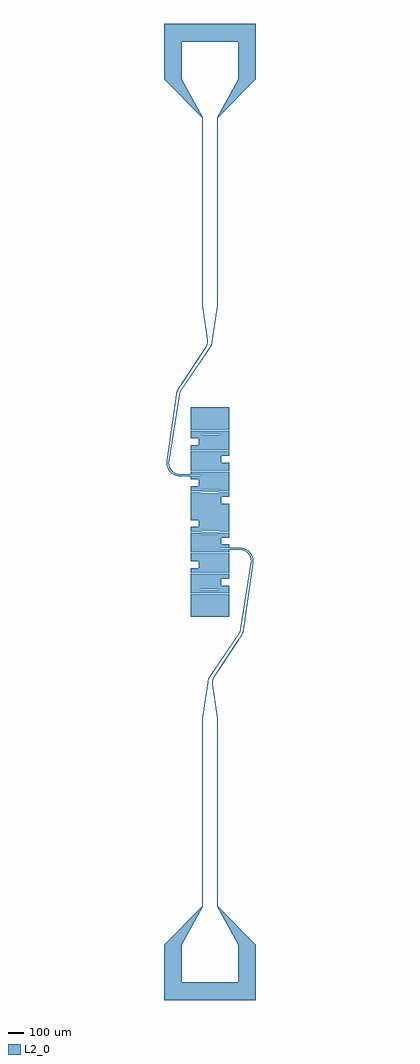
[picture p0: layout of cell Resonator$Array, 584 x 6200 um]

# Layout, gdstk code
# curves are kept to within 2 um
import gdstk
lib = gdstk.Library(unit=1e-6, precision=1e-09)
def R(c, l, rs):  # rectangles x0, y0, x1, y1
    for r in rs: c.add(gdstk.rectangle(r[:2], r[2:], *l))
def P(c, l, *ps):  # polygons
    for p in ps: c.add(gdstk.Polygon(p, *l))
L2_0 = (2, 0)

resonator_array = lib.new_cell('Resonator$Array')
R(resonator_array, L2_0, [(65,-727,307,-586), (65,460,307,601)])
P(resonator_array, L2_0, [(65,330),(65,360.35),(113,360.35),(113,405.65),(65,405.65),(65,454),(249,454),(249,433),(131,433),(131,429),(245,429),(245,337),(131,337),(131,333),(249,333),(249,454),(307,454),(307,330)],
  [(65,200),(65,324),(241,324),(241,225),(127,225),(127,317),(241,317),(241,321),(123,321),(123,221),(241,221),(241,324),(307,324),(307,293.65),(259,293.65),(259,248.35),(307,248.35),(307,200)],
  [(65,-450),(65,-419.65),(113,-419.65),(113,-374.35),(65,-374.35),(65,-326),(249,-326),(249,-347),(131,-347),(131,-351),(245,-351),(245,-443),(131,-443),(131,-447),(249,-447),(249,-326),(307,-326),(307,-450)],
  [(65,-580),(65,-456),(241,-456),(241,-555),(127,-555),(127,-463),(241,-463),(241,-459),(123,-459),(123,-559),(241,-559),(241,-456),(307,-456),(307,-486.35),(259,-486.35),(259,-531.65),(307,-531.65),(307,-580)],
  [(65,-190),(65,-156.35),(113,-156.35),(113,-138.65),(134.3,-138.65),(134.3,-114.3),(141.3,-114.3),(141.3,-163),(154.9,-163),(154.9,-114.3),(161.9,-114.3),(161.9,-163),(175.5,-163),(175.5,-114.3),(182.5,-114.3),(182.5,-163),(196.1,-163),(196.1,-114.3),(203.1,-114.3),(203.1,-163),(216.7,-163),(216.7,-114.3),(223.7,-114.3),(223.7,-138.65),(245,-138.65),(245,-183),(131,-183),(131,-187),(249,-187),(249,-87),(131,-87),(131,-91),(245,-91),(245,-135.35),(227,-135.35),(227,-111),(213.4,-111),(213.4,-159.7),(206.4,-159.7),(206.4,-111),(192.8,-111),(192.8,-159.7),(185.8,-159.7),(185.8,-111),(172.2,-111),(172.2,-159.7),(165.2,-159.7),(165.2,-111),(151.6,-111),(151.6,-159.7),(144.6,-159.7),(144.6,-111),(131,-111),(131,-135.35),(113,-135.35),(113,-114.35),(65,-114.35),(65,-66),(307,-66),(307,-190)],
  [(65,-60),(65,64),(307,64),(307,33.65),(259,33.65),(259,12.65),(241,12.65),(241,37),(227.4,37),(227.4,-11.7),(220.4,-11.7),(220.4,37),(206.8,37),(206.8,-11.7),(199.8,-11.7),(199.8,37),(186.2,37),(186.2,-11.7),(179.2,-11.7),(179.2,37),(165.6,37),(165.6,-11.7),(158.6,-11.7),(158.6,37),(145,37),(145,12.65),(127,12.65),(127,57),(241,57),(241,61),(123,61),(123,-39),(241,-39),(241,-35),(127,-35),(127,9.35),(148.3,9.35),(148.3,33.7),(155.3,33.7),(155.3,-15),(168.9,-15),(168.9,33.7),(175.9,33.7),(175.9,-15),(189.5,-15),(189.5,33.7),(196.5,33.7),(196.5,-15),(210.1,-15),(210.1,33.7),(217.1,33.7),(217.1,-15),(230.7,-15),(230.7,33.7),(237.7,33.7),(237.7,9.35),(259,9.35),(259,-11.65),(307,-11.65),(307,-60)],
  [(-58.874,198.812),(-64.727,206.238),(-68.584,212.479),(-71.803,219.071),(-74.354,225.949),(-76.211,233.046),(-77.356,240.292),(-77.779,247.616),(-77.474,254.945),(-9.797,682.615),(-8.335,689.544),(-6.181,696.29),(-3.356,702.783),(0.11,708.959),(29.114,752),(32.692,752),(1.485,705.441),(-1.631,699.422),(-4.124,693.119),(-6.824,682.158),(-74.236,256.982),(-74.706,245.04),(-74.022,237.896),(-72.619,230.858),(-69.659,221.762),(-65.503,213.146),(-60.227,205.168),(-54.742,198.812)],
  [(-72.845,198.812),(-76.691,204.36),(-80.578,211.168),(-83.822,218.304),(-86.394,225.71),(-88.273,233.32),(-89.443,241.072),(-89.894,248.898),(-89.622,256.733),(-28.344,685.247),(-26.883,692.983),(-24.745,700.56),(-21.945,707.918),(-18.507,714.999),(5.412,752),(9.04,752),(-11.963,720.08),(-17.052,711.309),(-21.906,699.604),(-23.972,692.283),(-25.383,684.808),(-86.398,258.933),(-86.891,251.248),(-86.661,243.552),(-84.679,230.881),(-82.549,223.482),(-78.647,213.988),(-73.59,205.057),(-69.086,198.812)],
  [(65,70),(65,100.35),(113,100.35),(113,121.35),(134.3,121.35),(134.3,145.7),(141.3,145.7),(141.3,97),(154.9,97),(154.9,145.7),(161.9,145.7),(161.9,97),(175.5,97),(175.5,145.7),(182.5,145.7),(182.5,97),(196.1,97),(196.1,145.7),(203.1,145.7),(203.1,97),(216.7,97),(216.7,145.7),(223.7,145.7),(223.7,121.35),(245,121.35),(245,77),(131,77),(131,73),(249,73),(249,173),(131,173),(131,169),(245,169),(245,124.65),(227,124.65),(227,149),(213.4,149),(213.4,100.3),(206.4,100.3),(206.4,149),(192.8,149),(192.8,100.3),(185.8,100.3),(185.8,149),(172.2,149),(172.2,100.3),(165.2,100.3),(165.2,149),(151.6,149),(151.6,100.3),(144.6,100.3),(144.6,149),(131,149),(131,124.65),(113,124.65),(113,145.65),(65,145.65),(65,165.469),(-6.746,164.888),(-24.856,167.244),(-51.145,178.55),(-72.845,198.812),(-69.086,198.812),(-54.432,184.494),(-39.037,175.289),(-22.009,169.65),(-6.73,167.867),(126.5,169),(126.5,173),(-14.2,174.946),(-39.577,183.443),(-58.874,198.812),(-54.742,198.812),(-42.809,188.922),(-30.1,182.291),(-4.419,177.234),(65,176.58),(65,194),(307,194),(307,70)],
  [(427.904,-326.033),(404.307,-309.215),(376.419,-303.234),(307,-302.58),(307,-320),(65,-320),(65,-196),(307,-196),(307,-226.35),(259,-226.35),(259,-247.35),(241,-247.35),(241,-223),(227.4,-223),(227.4,-271.7),(220.4,-271.7),(220.4,-223),(206.8,-223),(206.8,-271.7),(199.8,-271.7),(199.8,-223),(186.2,-223),(186.2,-271.7),(179.2,-271.7),(179.2,-223),(165.6,-223),(165.6,-271.7),(158.6,-271.7),(158.6,-223),(145,-223),(145,-247.35),(127,-247.35),(127,-203),(241,-203),(241,-199),(123,-199),(123,-299),(241,-299),(241,-295),(127,-295),(127,-250.65),(148.3,-250.65),(148.3,-226.3),(155.3,-226.3),(155.3,-275),(168.9,-275),(168.9,-226.3),(175.9,-226.3),(175.9,-275),(189.5,-275),(189.5,-226.3),(196.5,-226.3),(196.5,-275),(210.1,-275),(210.1,-226.3),(217.1,-226.3),(217.1,-275),(230.7,-275),(230.7,-226.3),(237.7,-226.3),(237.7,-250.65),(259,-250.65),(259,-268.35),(307,-268.35),(307,-291.469),(378.746,-290.888),(396.856,-293.244),(423.145,-304.55),(445.758,-326.033),(442.026,-326.033),(430.425,-313.722),(415.636,-303.571),(388.957,-294.737),(245.5,-295),(245.5,-299),(386.2,-300.946),(413.698,-310.661),(430.662,-324.569),(431.942,-326.033)],
  [(362.96,-878),(383.963,-846.08),(389.052,-837.309),(393.906,-825.604),(395.972,-818.283),(397.383,-810.808),(458.398,-384.933),(458.818,-372.115),(457.234,-359.388),(454.549,-349.482),(451.733,-342.315),(446.958,-333.229),(442.026,-326.033),(445.758,-326.033),(452.578,-337.168),(455.822,-344.304),(458.394,-351.71),(460.273,-359.32),(461.443,-367.072),(461.894,-374.898),(461.622,-382.733),(400.344,-811.247),(398.883,-818.983),(396.745,-826.56),(393.945,-833.918),(390.507,-840.999),(366.588,-878)],
  [(339.308,-878),(370.515,-831.441),(373.631,-825.422),(376.124,-819.119),(378.824,-808.158),(446.236,-382.982),(446.706,-371.04),(446.022,-363.896),(444.619,-356.858),(442.514,-349.997),(438.651,-341.247),(433.646,-333.095),(427.904,-326.033),(431.942,-326.033),(436.727,-332.238),(440.584,-338.479),(443.803,-345.071),(446.354,-351.949),(448.211,-359.046),(449.356,-366.292),(449.779,-373.616),(449.474,-380.945),(381.797,-808.615),(380.335,-815.544),(378.181,-822.29),(375.356,-828.783),(371.89,-834.959),(342.886,-878)],
  [(4.756,751),(159.803,987.125),(169.257,1016.955),(138.037,1244.111),(138,2443),(-106,2684.5),(-106,3037),(478,3037),(478,2684.5),(234,2443),(233.087,1232.008),(201.579,1018.72),(195.858,997.631),(32.018,751),(28.439,751),(185.784,984.221),(198.579,1018.72),(230.964,1244.184),(231,2444),(366,2684.5),(366,2925),(6,2925),(6,2684.5),(141,2444),(141.036,1244.184),(172.42,1021.051),(169.917,1002.387),(162.391,985.125),(8.382,751)],
  [(-106,-3163),(-106,-2810.5),(138,-2569),(138.913,-1358.008),(170.421,-1144.72),(176.142,-1123.631),(339.982,-877),(343.561,-877),(186.216,-1110.221),(173.421,-1144.72),(141.036,-1370.184),(141,-2570),(6,-2810.5),(6,-3051),(366,-3051),(366,-2810.5),(231,-2570),(230.964,-1370.184),(199.58,-1147.051),(202.083,-1128.387),(209.609,-1111.125),(363.618,-877),(367.244,-877),(212.197,-1113.125),(202.743,-1142.955),(233.963,-1370.111),(234,-2569),(478,-2810.5),(478,-3163)])

lib.write_gds('Resonator_Array.gds')
